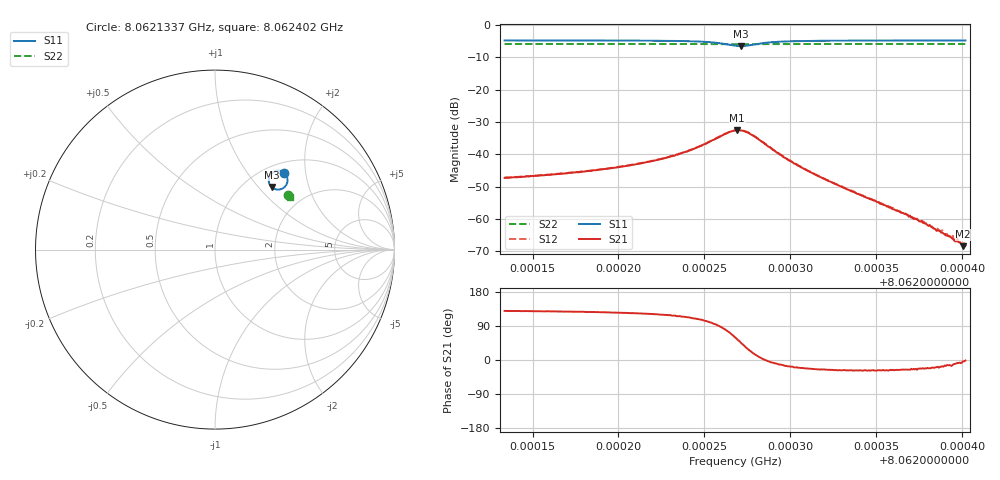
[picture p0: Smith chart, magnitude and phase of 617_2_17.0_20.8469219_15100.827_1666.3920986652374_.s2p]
#  HZ  S  RI  R  50.00
! Rohde & Schwarz Vector Network Analyzer
! Rohde-Schwarz,ZNB20-2Port,1311601062101988,3.16
! Created: UTC 3/20/2024, 11:19:46 PM
! freq[Hz]  re:S11  im:S11  re:S21  im:S21  re:S12  im:S12  re:S22  im:S22
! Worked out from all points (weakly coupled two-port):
!   401 points, 8.0621337 GHz to 8.062402 GHz, reference 50 ohm
!   highest |S21| = -32.50 dB at 8.0622692 GHz (marker M1); lowest = -68.4 dB at 8.0624007 GHz (marker M2)
!   lowest |S11| = -6.6 dB at 8.0622712 GHz (marker M3), VSWR 2.77, Z = 66 + j59.1 ohm
!   |S11| at or under -10 dB: nowhere
!   |S22| runs from -6.0 to -5.9 dB; largest |S21 - S12| = 0.0014
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8.06213371e9  0.3867 0.4267  -0.00275 0.00334  -0.00256 0.00352  0.4071 0.304
8.06217865e9  0.3921 0.4205  -0.00324 0.00427  -0.00301 0.00454  0.4088 0.3017
8.06220413e9  0.3964 0.4143  -0.00374 0.00544  -0.0034 0.00571  0.4096 0.3
8.06222359e9  0.4004 0.4059  -0.00419 0.00718  -0.00378 0.00751  0.4103 0.2986
8.06224103e9  0.4039 0.3898  -0.00439 0.0105  -0.00374 0.0109  0.4109 0.2972
8.06224975e9  0.4025 0.3744  -0.00354 0.0139  -0.00263 0.014  0.4109 0.2961
8.06225712e9  0.393 0.3548  -0.000988 0.0178  0.000197 0.0179  0.4105 0.2951
8.06226316e9  0.3697 0.3376  0.00463 0.0208  0.00582 0.0205  0.4095 0.2944
8.06226786e9  0.3386 0.3359  0.0117 0.0203  0.0128 0.0198  0.4081 0.2944
8.0622692e9  0.3288 0.3394  0.0138 0.0193  0.0149 0.0186  0.4079 0.2946
8.06227121e9  0.3155 0.3484  0.0163 0.0167  0.0175 0.016  0.4074 0.295
8.06227658e9  0.2991 0.3842  0.0189 0.00853  0.0197 0.00768  0.4074 0.2966
8.06228664e9  0.3189 0.4279  0.0136 -0.000551  0.0137 -0.00131  0.4092 0.2978
8.06229871e9  0.3443 0.4387  0.00786 -0.00234  0.00787 -0.00285  0.4109 0.2973
8.0623128e9  0.3597 0.4386  0.00472 -0.00203  0.00466 -0.00237  0.4119 0.2964
8.06232487e9  0.3674 0.4367  0.00325 -0.00161  0.00315 -0.00183  0.4127 0.2957
8.06235774e9  0.3782 0.4322  0.00134 -0.000675  0.00132 -0.000812  0.4143 0.2938
8.06237786e9  0.382 0.4299  0.000798 -0.000337  0.000814 -0.000388  0.4151 0.2926
8.06238322e9  0.3828 0.4294  0.000688 -0.000251  0.000651 -0.000297  0.4152 0.2923
8.06238725e9  0.3835 0.4289  0.000617 -0.000201  0.000601 -0.000252  0.4152 0.2921
8.06240066e9  0.3852 0.4277  0.00038 -2.09e-05  0.000379 -6.75e-05  0.4158 0.2915
8.06240201e9  0.3855 0.4275  0.000384 -9.52e-06  0.000384 -4.19e-05  0.4159 0.2913
